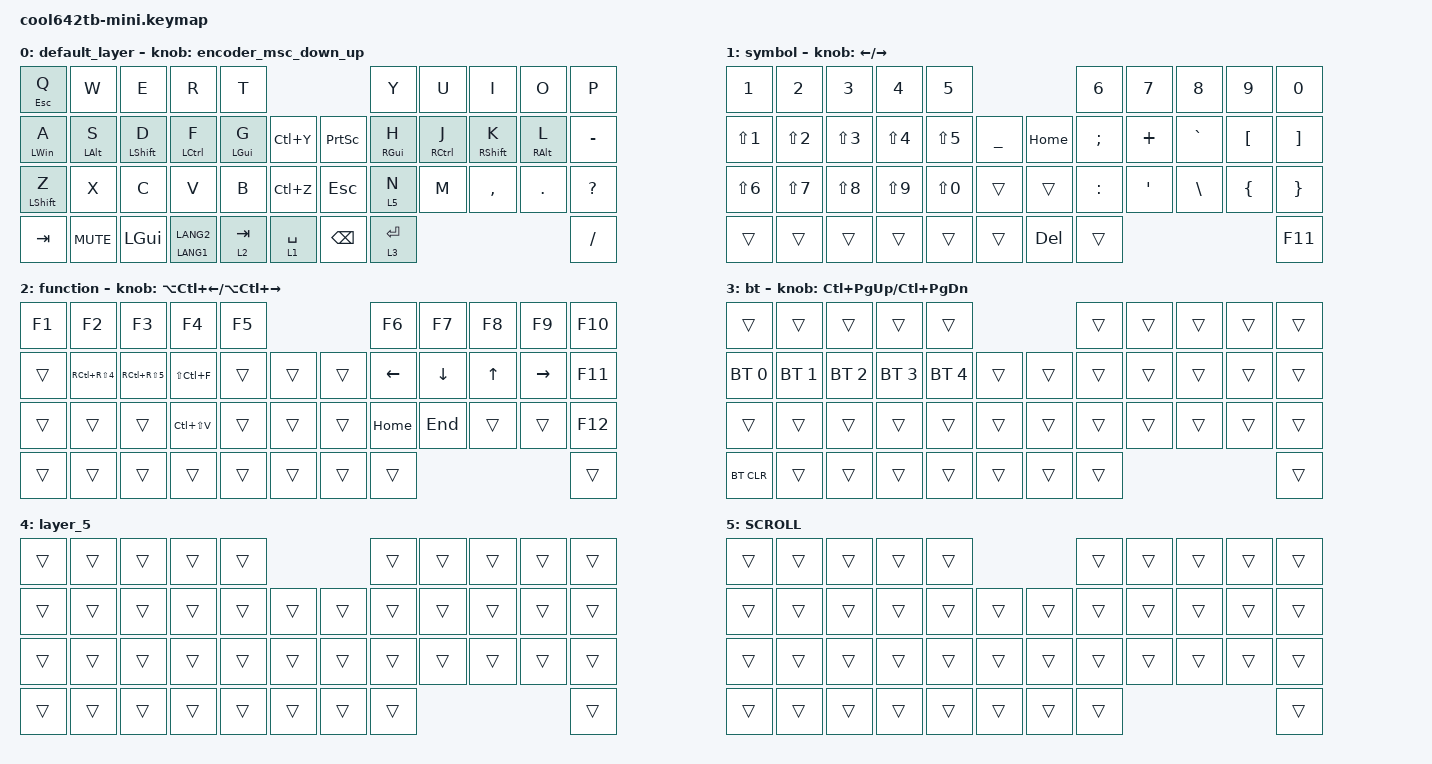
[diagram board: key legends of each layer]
#include <behaviors.dtsi>
#include <dt-bindings/zmk/bt.h>
#include <dt-bindings/zmk/keys.h>
#include <dt-bindings/zmk/pointing.h>

#define MOUSE 4
#define SCROLL 5
#define NUM 6
#define ZMK_POINTING_DEFAULT_SCRL_VAL 80

&mt {
    flavor = "balanced";
    quick-tap-ms = <0>;
};

/ {
    combos {
        compatible = "zmk,combos";

        mb1 {
            bindings = <&mkp MB1>;
            key-positions = <17 18>;
        };

        mb2 {
            bindings = <&mkp MB2>;
            key-positions = <18 19>;
        };

        mb3 {
            bindings = <&mkp MB3>;
            key-positions = <29 30>;
        };

        bracket_left {
            bindings = <&kp LEFT_PARENTHESIS>;
            key-positions = <7 8>;
        };

        bracket_right {
            bindings = <&kp RIGHT_PARENTHESIS>;
            key-positions = <8 9>;
        };

        back {
            bindings = <&kp RA(RC(LEFT))>;
            key-positions = <5 6>;
        };

        next {
            bindings = <&kp RA(RC(RIGHT))>;
            key-positions = <6 7>;
        };
    };

    behaviors {
        encoder_msc_down_up: encoder_msc_down_up {
            compatible = "zmk,behavior-sensor-rotate";
            label = "ENCODER_MSC_DOWN_UP";
            #sensor-binding-cells = <0>;
            bindings = <&msc SCRL_UP>, <&msc SCRL_DOWN>;

            tap-ms = <20>;
        };
    };

    keymap {
        compatible = "zmk,keymap";

        default_layer {
            bindings = <
&mt ESC Q         &kp W           &kp E             &kp R               &kp T                                             &kp Y            &kp U                &kp I              &kp O            &kp P
&mt LEFT_WIN A    &mt LEFT_ALT S  &mt LEFT_SHIFT D  &mt LEFT_CONTROL F  &mt LEFT_GUI G  &kp LC(Y)        &kp PRINTSCREEN  &mt RIGHT_GUI H  &mt RIGHT_CONTROL J  &mt RIGHT_SHIFT K  &mt RIGHT_ALT L  &kp MINUS
&mt LEFT_SHIFT Z  &kp X           &kp C             &kp V               &kp B           &kp LC(Z)        &kp ESC          &lt 5 N          &kp M                &kp COMMA          &kp DOT          &kp QUESTION
&kp TAB           &kp C_MUTE      &kp LEFT_GUI      &mt LANG1 LANG2     &lt 2 TAB       &lt 1 SPACE      &kp BACKSPACE    &lt 3 ENTER                                                               &kp SLASH
            >;

            sensor-bindings = <&encoder_msc_down_up>;
        };

        symbol {
            bindings = <
&kp N1            &kp N2            &kp N3            &kp N4            &kp N5                                 &kp N6         &kp N7            &kp N8         &kp N9            &kp N0
&kp LS(NUMBER_1)  &kp LS(NUMBER_2)  &kp LS(NUMBER_3)  &kp LS(NUMBER_4)  &kp LS(N5)  &kp UNDER      &kp HOME    &kp SEMICOLON  &kp PLUS          &kp GRAVE      &kp LEFT_BRACKET  &kp RIGHT_BRACKET
&kp LS(NUMBER_6)  &kp LS(N7)        &kp LS(N8)        &kp LS(N9)        &kp LS(N0)  &trans         &trans      &kp COLON      &kp SINGLE_QUOTE  &kp BACKSLASH  &kp LEFT_BRACE    &kp RIGHT_BRACE
&trans            &trans            &trans            &trans            &trans      &trans         &kp DELETE  &trans                                                            &kp F11
            >;

            sensor-bindings = <&inc_dec_kp LEFT RIGHT>;
        };

        function {
            bindings = <
&kp F1  &kp F2                &kp F3          &kp F4         &kp F5                      &kp F6          &kp F7          &kp F8        &kp F9           &kp F10
&trans  &kp RC(RS(NUMBER_4))  &kp RC(RS(N5))  &kp LS(LC(F))  &trans  &trans      &trans  &kp LEFT_ARROW  &kp DOWN_ARROW  &kp UP_ARROW  &kp RIGHT_ARROW  &kp F11
&trans  &trans                &trans          &kp LC(LS(V))  &trans  &trans      &trans  &kp HOME        &kp END         &trans        &trans           &kp F12
&trans  &trans                &trans          &trans         &trans  &trans      &trans  &trans                                                         &trans
            >;

            sensor-bindings = <&inc_dec_kp LA(LC(LEFT)) LA(LC(RIGHT))>;
        };

        bt {
            bindings = <
&trans        &trans        &trans        &trans        &trans                            &trans  &trans  &trans  &trans  &trans
&bt BT_SEL 0  &bt BT_SEL 1  &bt BT_SEL 2  &bt BT_SEL 3  &bt BT_SEL 4  &trans      &trans  &trans  &trans  &trans  &trans  &trans
&trans        &trans        &trans        &trans        &trans        &trans      &trans  &trans  &trans  &trans  &trans  &trans
&bt BT_CLR    &trans        &trans        &trans        &trans        &trans      &trans  &trans                          &trans
            >;

            sensor-bindings = <&inc_dec_kp LC(PAGE_UP) LC(PAGE_DOWN)>;
        };

        layer_5 {
            bindings = <
&trans  &trans  &trans  &trans  &trans                      &trans  &trans  &trans  &trans  &trans
&trans  &trans  &trans  &trans  &trans  &trans      &trans  &trans  &trans  &trans  &trans  &trans
&trans  &trans  &trans  &trans  &trans  &trans      &trans  &trans  &trans  &trans  &trans  &trans
&trans  &trans  &trans  &trans  &trans  &trans      &trans  &trans                          &trans
            >;
        };

        scroll_layer {
            bindings = <
&trans  &trans  &trans  &trans  &trans                      &trans  &trans  &trans  &trans  &trans
&trans  &trans  &trans  &trans  &trans  &trans      &trans  &trans  &trans  &trans  &trans  &trans
&trans  &trans  &trans  &trans  &trans  &trans      &trans  &trans  &trans  &trans  &trans  &trans
&trans  &trans  &trans  &trans  &trans  &trans      &trans  &trans                          &trans
            >;

            label = "SCROLL";
        };
    };
};
